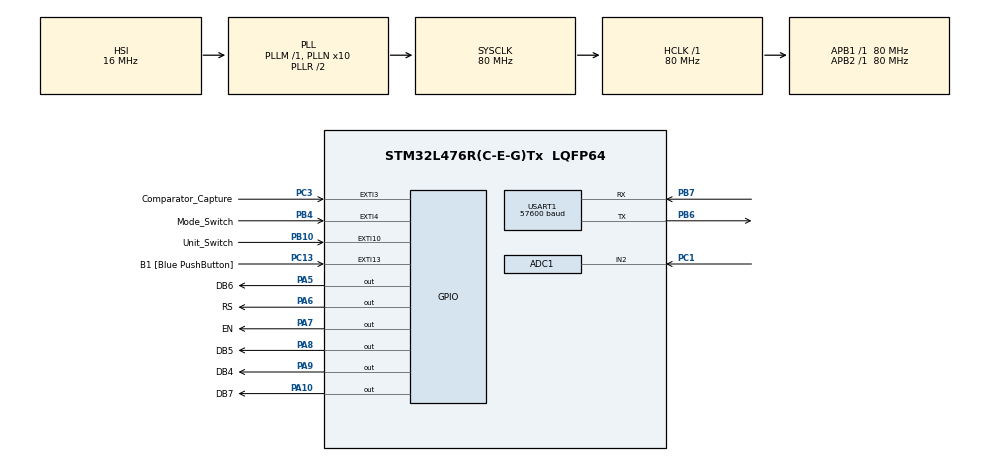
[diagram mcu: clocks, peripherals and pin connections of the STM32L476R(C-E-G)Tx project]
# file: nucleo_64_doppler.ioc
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ADC1.Channel-0\#ChannelRegularConversion=ADC_CHANNEL_2
ADC1.ClockPrescaler=ADC_CLOCK_ASYNC_DIV64
ADC1.ContinuousConvMode=ENABLE
ADC1.DMAContinuousRequests=ENABLE
ADC1.ExternalTrigConv=ADC_EXTERNALTRIG_T3_TRGO
ADC1.NbrOfConversion=1
ADC1.NbrOfConversionFlag=1
ADC1.OffsetNumber-0\#ChannelRegularConversion=ADC_OFFSET_NONE
ADC1.Rank-0\#ChannelRegularConversion=1
ADC1.SamplingTime-0\#ChannelRegularConversion=ADC_SAMPLETIME_2CYCLES_5
ADC1.master=1
Dma.ADC1.0.Direction=DMA_PERIPH_TO_MEMORY
Dma.ADC1.0.Instance=DMA1_Channel1
Dma.ADC1.0.MemDataAlignment=DMA_MDATAALIGN_HALFWORD
Dma.ADC1.0.MemInc=DMA_MINC_ENABLE
Dma.ADC1.0.Mode=DMA_CIRCULAR
Dma.ADC1.0.PeriphDataAlignment=DMA_PDATAALIGN_HALFWORD
Dma.ADC1.0.PeriphInc=DMA_PINC_DISABLE
Dma.ADC1.0.Priority=DMA_PRIORITY_LOW
Dma.Request0=ADC1
Mcu.Family=STM32L4
Mcu.Name=STM32L476R(C-E-G)Tx
Mcu.Package=LQFP64
NVIC.ADC1_2_IRQn=true\:0\:0\:false\:false\:true\:true\:true\:true
NVIC.DMA1_Channel1_IRQn=true\:0\:0\:false\:false\:true\:false\:true\:true
NVIC.EXTI15_10_IRQn=true\:0\:0\:false\:false\:true\:true\:true\:true
NVIC.EXTI3_IRQn=true\:0\:0\:false\:false\:true\:true\:true\:true
NVIC.EXTI4_IRQn=true\:0\:0\:false\:false\:true\:true\:true\:true
NVIC.PVD_PVM_IRQn=true\:0\:0\:false\:false\:true\:true\:true\:true
NVIC.PriorityGroup=NVIC_PRIORITYGROUP_4
NVIC.TIM6_DAC_IRQn=true\:0\:0\:false\:false\:true\:true\:true\:true
PA10.GPIO_Label=DB7
PA10.GPIO_Speed=GPIO_SPEED_FREQ_HIGH
PA10.PinState=GPIO_PIN_SET
PA10.Signal=GPIO_Output
PA13\ (JTMS-SWDIO).GPIO_Label=TMS
PA13\ (JTMS-SWDIO).Mode=Serial_Wire
PA13\ (JTMS-SWDIO).Signal=SYS_JTMS-SWDIO
PA14\ (JTCK-SWCLK).GPIO_Label=TCK
PA14\ (JTCK-SWCLK).Mode=Serial_Wire
PA14\ (JTCK-SWCLK).Signal=SYS_JTCK-SWCLK
PA2.GPIO_Label=USART_TX
PA2.GPIO_Mode=GPIO_MODE_AF_PP
PA2.GPIO_PuPd=GPIO_NOPULL
PA2.GPIO_Speed=GPIO_SPEED_FREQ_VERY_HIGH
PA2.Signal=USART2_TX
PA3.GPIO_Label=USART_RX
PA3.GPIO_Mode=GPIO_MODE_AF_PP
PA3.GPIO_PuPd=GPIO_NOPULL
PA3.GPIO_Speed=GPIO_SPEED_FREQ_VERY_HIGH
PA3.Signal=USART2_RX
PA5.GPIO_Label=DB6
PA5.GPIO_ModeDefaultOutputPP=GPIO_MODE_OUTPUT_PP
PA5.GPIO_PuPd=GPIO_NOPULL
PA5.GPIO_Speed=GPIO_SPEED_FREQ_HIGH
PA5.PinState=GPIO_PIN_SET
PA5.Signal=GPIO_Output
PA6.GPIO_Label=RS
PA6.GPIO_Speed=GPIO_SPEED_FREQ_HIGH
PA6.PinState=GPIO_PIN_SET
PA6.Signal=GPIO_Output
PA7.GPIO_Label=EN
PA7.GPIO_Speed=GPIO_SPEED_FREQ_HIGH
PA7.PinState=GPIO_PIN_SET
PA7.Signal=GPIO_Output
PA8.GPIO_Label=DB5
PA8.GPIO_Speed=GPIO_SPEED_FREQ_HIGH
PA8.PinState=GPIO_PIN_SET
PA8.Signal=GPIO_Output
PA9.GPIO_Label=DB4
PA9.GPIO_Speed=GPIO_SPEED_FREQ_HIGH
PA9.PinState=GPIO_PIN_SET
PA9.Signal=GPIO_Output
PB10.GPIO_Label=Unit_Switch
PB10.GPIO_PuPd=GPIO_PULLDOWN
PB10.Signal=GPXTI10
PB3\ (JTDO-TRACESWO).GPIO_Label=SWO
PB3\ (JTDO-TRACESWO).Signal=SYS_JTDO-SWO
PB4\ (NJTRST).GPIO_Label=Mode_Switch
PB4\ (NJTRST).GPIO_PuPd=GPIO_PULLDOWN
PB4\ (NJTRST).Signal=GPXTI4
PB6.Mode=Asynchronous
PB6.Signal=USART1_TX
PB7.Mode=Asynchronous
PB7.Signal=USART1_RX
PC1.Signal=ADCx_IN2
PC13.GPIO_Label=B1 [Blue PushButton]
PC13.GPIO_ModeDefaultEXTI=GPIO_MODE_IT_FALLING
PC13.GPIO_PuPd=GPIO_NOPULL
PC13.Signal=GPXTI13
PC14-OSC32_IN\ (PC14).Mode=LSE-External-Oscillator
PC14-OSC32_IN\ (PC14).Signal=RCC_OSC32_IN
PC15-OSC32_OUT\ (PC15).Mode=LSE-External-Oscillator
PC15-OSC32_OUT\ (PC15).Signal=RCC_OSC32_OUT
PC3.GPIO_Label=Comparator_Capture
PC3.Signal=GPXTI3
PH0-OSC_IN\ (PH0).Mode=HSE-External-Oscillator
PH0-OSC_IN\ (PH0).Signal=RCC_OSC_IN
PH1-OSC_OUT\ (PH1).Mode=HSE-External-Oscillator
PH1-OSC_OUT\ (PH1).Signal=RCC_OSC_OUT
ProjectManager.HeapSize=0x200
ProjectManager.StackSize=0x400
ProjectManager.TargetToolchain=STM32CubeIDE
RCC.ADCFreq_Value=64000000
RCC.AHBFreq_Value=80000000
RCC.APB1Freq_Value=80000000
RCC.APB1TimFreq_Value=80000000
RCC.APB2Freq_Value=80000000
RCC.APB2TimFreq_Value=80000000
RCC.CortexFreq_Value=80000000
RCC.HCLKFreq_Value=80000000
RCC.HSE_VALUE=8000000
RCC.HSI_VALUE=16000000
RCC.MSI_VALUE=4000000
RCC.PLLN=10
RCC.PLLSourceVirtual=RCC_PLLSOURCE_HSI
RCC.PREFETCH_ENABLE=1
RCC.SYSCLKFreq_VALUE=80000000
RCC.SYSCLKSource=RCC_SYSCLKSOURCE_PLLCLK
RCC.USBFreq_Value=64000000
RCC.VCOOutputFreq_Value=160000000
SH.ADCx_IN2.0=ADC1_IN2,IN2-Single-Ended
STMicroelectronics.X-CUBE-ALGOBUILD.1.3.0.LibraryCcDSPOoLibraryJjDSPOoLibrary=true
TIM3.AutoReloadPreload=TIM_AUTORELOAD_PRELOAD_ENABLE
TIM3.Period=64-1
TIM3.TIM_MasterOutputTrigger=TIM_TRGO_UPDATE
TIM6.AutoReloadPreload=TIM_AUTORELOAD_PRELOAD_ENABLE
TIM6.Period=10000-1
TIM6.Prescaler=8000-1
TIM7.AutoReloadPreload=TIM_AUTORELOAD_PRELOAD_ENABLE
TIM7.Prescaler=80-1
USART1.BaudRate=57600
USART1.VirtualMode-Asynchronous=VM_ASYNC
VP_STMicroelectronics.X-CUBE-ALGOBUILD_VS_DSPOoLibraryJjLibrary_1.3.0_1.3.0.Mode=DSPOoLibraryJjLibrary
VP_TIM3_VS_ClockSourceINT.Mode=Internal
VP_TIM6_VS_ClockSourceINT.Mode=Enable_Timer
VP_TIM7_VS_ClockSourceINT.Mode=Enable_Timer
board=NUCLEO-L476RG

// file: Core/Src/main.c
/* USER CODE BEGIN Header */
/**
  ******************************************************************************
  * @file           : main.c
  * @brief          : Main program body
  ******************************************************************************
  * @attention
  *
  * Copyright (c) 2022 STMicroelectronics.
  * All rights reserved.
  *
  * This software is licensed under terms that can be found in the LICENSE file
  * in the root directory of this software component.
  * If no LICENSE file comes with this software, it is provided AS-IS.
  *
  ******************************************************************************
  */
/* USER CODE END Header */
#include "main.h"
#include "adc.h"
#include "dma.h"
#include "tim.h"
#include "usart.h"
#include "gpio.h"

/* USER CODE BEGIN Includes */
#include <stdio.h>
#include "adc_user.h"
#include "comparator.h"
#include "display.h"
#include "processing.h"
/* USER CODE END Includes */

/* USER CODE BEGIN PV */

//---------- variables for freq calc ----------
int task_freq=0, task_cnt=0;
int ADC_Conv_Freq=0;

/* USER CODE END PV */

void SystemClock_Config(void);
/* USER CODE BEGIN PFP */
void encode_transmit_data(int input, uint8_t* output);
/* USER CODE END PFP */

int main(void)
{

  /* MCU Configuration--------------------------------------------------------*/

  /* Reset of all peripherals, Initializes the Flash interface and the Systick. */
  HAL_Init();

  /* Configure the system clock */
  SystemClock_Config();

  /* Initialize all configured peripherals */
  MX_GPIO_Init();
  MX_DMA_Init();
  MX_ADC1_Init();
  MX_TIM6_Init();
  MX_TIM7_Init();
  MX_TIM3_Init();
  MX_USART1_UART_Init();
  /* USER CODE BEGIN 2 */

  //------------ start timers -----------
  HAL_TIM_Base_Start_IT(&htim6);
  HAL_TIM_Base_Start(&htim7);

  //------------ init ADC -----------
  User_ADC_Init(&hadc1);

  //------------ init LCD -----------
  LCD_Init();

  /* USER CODE END 2 */

  /* Infinite loop */
  /* USER CODE BEGIN WHILE */
  while (1)
  {
#ifdef ADC_POLLING_METHOD
	  //ADC data acquiring
	  ADC_DATA_RD[adc_i++] = get_ADC1_data();

	  //FFT calculation: fft_target_freq
	  if(adc_i==FFT_LENGTH){
		  User_FFT_Calculation(ADC_DATA_RD,fft_inputbuf,fft_outputbuf,&task_freq);
		  adc_i=0;	//reset
	  }
#endif

#ifdef ADC_IT_METHOD
	  //FFT calculation: fft_target_freq
	  if(adc_i==FFT_LENGTH){
		  User_FFT_Calculation(ADC_DATA_RD,fft_inputbuf,fft_outputbuf,&task_freq);
		  adc_i=0;
		  IT_contine_flag=1;

		  LCD_Speed_Display();
		  RS485_Data_Transmit();

		  HAL_Delay(20);
	  }
#endif

#ifdef ADC_DMA_METHOD
	  User_FFT_Calculation(ADC_DATA_RD,fft_inputbuf,fft_outputbuf,&task_freq);

	  LCD_Speed_Display();
	  RS485_Data_Transmit();

	  HAL_Delay(20);
#endif

    /* USER CODE END WHILE */

    /* USER CODE BEGIN 3 */
	  task_cnt++; //increase the counter every time entered the loop
  }
  /* USER CODE END 3 */
}

void SystemClock_Config(void)
{
  RCC_OscInitTypeDef RCC_OscInitStruct = {0};
  RCC_ClkInitTypeDef RCC_ClkInitStruct = {0};

  /** Configure the main internal regulator output voltage
  */
  if (HAL_PWREx_ControlVoltageScaling(PWR_REGULATOR_VOLTAGE_SCALE1) != HAL_OK)
  {
    Error_Handler();
  }

  /** Initializes the RCC Oscillators according to the specified parameters
  * in the RCC_OscInitTypeDef structure.
  */
  RCC_OscInitStruct.OscillatorType = RCC_OSCILLATORTYPE_HSI;
  RCC_OscInitStruct.HSIState = RCC_HSI_ON;
  RCC_OscInitStruct.HSICalibrationValue = RCC_HSICALIBRATION_DEFAULT;
  RCC_OscInitStruct.PLL.PLLState = RCC_PLL_ON;
  RCC_OscInitStruct.PLL.PLLSource = RCC_PLLSOURCE_HSI;
  RCC_OscInitStruct.PLL.PLLM = 1;
  RCC_OscInitStruct.PLL.PLLN = 10;
  RCC_OscInitStruct.PLL.PLLP = RCC_PLLP_DIV7;
  RCC_OscInitStruct.PLL.PLLQ = RCC_PLLQ_DIV2;
  RCC_OscInitStruct.PLL.PLLR = RCC_PLLR_DIV2;
  if (HAL_RCC_OscConfig(&RCC_OscInitStruct) != HAL_OK)
  {
    Error_Handler();
  }

  /** Initializes the CPU, AHB and APB buses clocks
  */
  RCC_ClkInitStruct.ClockType = RCC_CLOCKTYPE_HCLK|RCC_CLOCKTYPE_SYSCLK
                              |RCC_CLOCKTYPE_PCLK1|RCC_CLOCKTYPE_PCLK2;
  RCC_ClkInitStruct.SYSCLKSource = RCC_SYSCLKSOURCE_PLLCLK;
  RCC_ClkInitStruct.AHBCLKDivider = RCC_SYSCLK_DIV1;
  RCC_ClkInitStruct.APB1CLKDivider = RCC_HCLK_DIV1;
  RCC_ClkInitStruct.APB2CLKDivider = RCC_HCLK_DIV1;

  if (HAL_RCC_ClockConfig(&RCC_ClkInitStruct, FLASH_LATENCY_4) != HAL_OK)
  {
    Error_Handler();
  }
}

/* USER CODE BEGIN 4 */

void HAL_TIM_PeriodElapsedCallback(TIM_HandleTypeDef *htim)
{
	if(htim==&htim6) //for frequency calculation, 1Hz
	{
		task_freq=task_cnt;
		task_cnt=0;	//reset counter

		ADC_Conv_Freq=ADC_Conv_Tick;
		ADC_Conv_Tick=0;
	}
}

//external-interrupt triggered in rising edge
void HAL_GPIO_EXTI_Callback(uint16_t GPIO_Pin)
{
	if(GPIO_Pin==Comparator_Capture_Pin) //pin 3
	{
		_Comparator_EXTI_Callback(GPIO_Pin);
	}
	else	//pin4 for mode switch, pin10 for unit switch
	{
		_Display_EXTI_Callback(GPIO_Pin);
	}
}

/* USER CODE END 4 */

void Error_Handler(void)
{
  __disable_irq();
  while (1)
  {
  }
}
